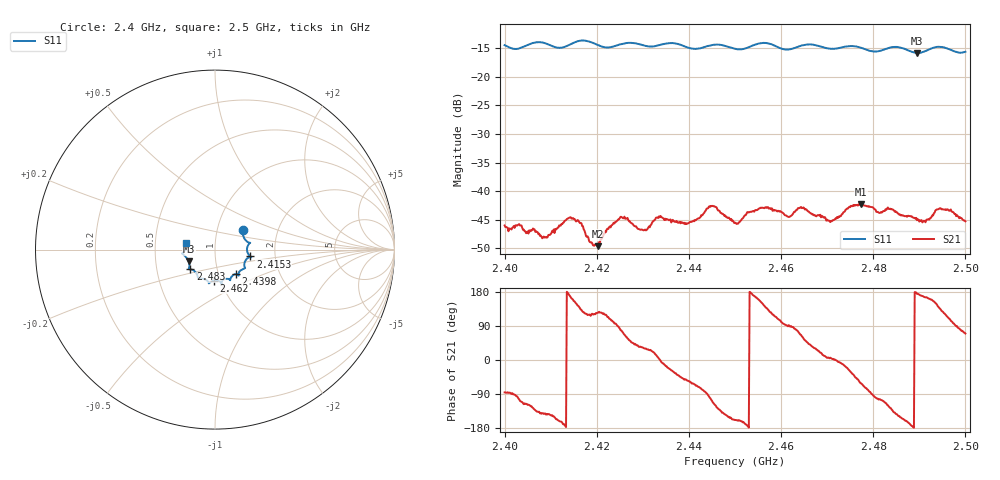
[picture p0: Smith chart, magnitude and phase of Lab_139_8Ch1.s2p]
# Hz S RI R 50
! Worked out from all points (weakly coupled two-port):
!   601 points, 2.4 GHz to 2.5 GHz, reference 50 ohm
!   highest |S21| = -42.23 dB at 2.4773 GHz (marker M1); lowest = -49.6 dB at 2.4202 GHz (marker M2)
!   lowest |S11| = -15.9 dB at 2.4895 GHz (marker M3), VSWR 1.38, Z = 36.9 - j5.02 ohm
!   |S11| at or under -10 dB: start of sweep to end of sweep
!   S12 and S22 are empty: the file has one direction only
!   S11 on the Smith chart (normalised r, x): 2.4 GHz: 1.33, +0.29; 2.4153 GHz: 1.48, -0.12; 2.4398 GHz: 1.21, -0.34; 2.462 GHz: 0.93, -0.33; 2.483 GHz: 0.74, -0.17; 2.5 GHz: 0.72, +0.06
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2.4e9  0.1551 0.1066  0.000396 -0.00501  0 0  0 0
2.408667e9  0.1931 0.0356  -0.00307 -0.00248  0 0  0 0
2.415333e9  0.1963 -0.0383  -0.00494 0.00263  0 0  0 0
2.416667e9  0.2021 -0.0425  -0.00354 0.00388  0 0  0 0
2.420167e9  0.1832 -0.0468  -0.00188 0.00273  0 0  0 0
2.425e9  0.1649 -0.0956  0.000718 0.00579  0 0  0 0
2.430333e9  0.1497 -0.1114  0.00395 0.00235  0 0  0 0
2.433333e9  0.1312 -0.1336  0.0058 0.000654  0 0  0 0
2.439833e9  0.1154 -0.1367  0.00301 -0.00429  0 0  0 0
2.445e9  0.0843 -0.1686  -0.00225 -0.00707  0 0  0 0
2.45e9  0.0647 -0.1626  -0.00495 -0.00194  0 0  0 0
2.456e9  0.0381 -0.193  -0.0061 0.00376  0 0  0 0
2.462e9  -0.00507 -0.1732  0.000201 0.00605  0 0  0 0
2.464333e9  -0.0292 -0.1838  0.00295 0.00666  0 0  0 0
2.466667e9  -0.0342 -0.1874  0.00513 0.00377  0 0  0 0
2.471e9  -0.0582 -0.1648  0.00546 0.000342  0 0  0 0
2.477333e9  -0.0965 -0.1505  0.00371 -0.00679  0 0  0 0
2.483e9  -0.1374 -0.1097  -0.00334 -0.00619  0 0  0 0
2.483333e9  -0.14 -0.1094  -0.00374 -0.00593  0 0  0 0
2.4895e9  -0.1464 -0.0662  -0.00556 0.000533  0 0  0 0
2.494667e9  -0.1804 -0.0206  -0.00482 0.00517  0 0  0 0
2.5e9  -0.1601 0.039  0.00188 0.00513  0 0  0 0
